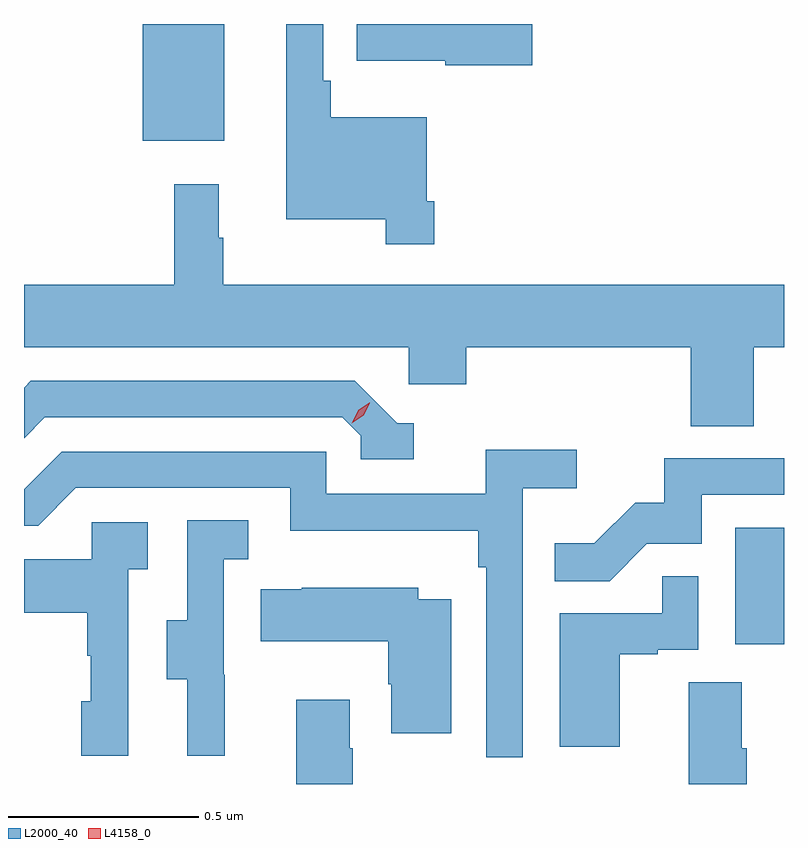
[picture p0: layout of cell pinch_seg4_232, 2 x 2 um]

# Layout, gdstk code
import gdstk
lib = gdstk.Library(unit=1e-6, precision=1e-09)
def R(c, l, rs):  # rectangles x0, y0, x1, y1
    for r in rs: c.add(gdstk.rectangle(r[:2], r[2:], *l))
def P(c, l, *ps):  # polygons
    for p in ps: c.add(gdstk.Polygon(p, *l))
L2000_40 = (2000, 40)
L4158_0 = (4158, 0)

pinch_seg4_232 = lib.new_cell('pinch_seg4_232')
R(pinch_seg4_232, L2000_40, [(998.084,822.678,998.212,822.985), (996.524,824.003,996.739,824.31)])
P(pinch_seg4_232, L2000_40, [(997.292,823.843),(997.272,823.843),(997.272,824.065),(997.019,824.065),(997.019,824.161),(996.999,824.161),(996.999,824.31),(996.902,824.31),(996.902,823.796),(997.164,823.796),(997.164,823.731),(997.292,823.731)],
  [(997.549,824.31),(997.088,824.31),(997.088,824.213),(997.32,824.213),(997.32,824.201),(997.549,824.201)],
  [(996.736,823.748),(996.724,823.748),(996.724,823.888),(996.607,823.888),(996.607,823.624),(996.212,823.624),(996.212,823.46),(997.224,823.46),(997.224,823.362),(997.376,823.362),(997.376,823.46),(997.967,823.46),(997.967,823.252),(998.132,823.252),(998.132,823.46),(998.212,823.46),(998.212,823.624),(996.736,823.624)],
  [(997.237,823.26),(997.194,823.26),(997.083,823.371),(996.23,823.371),(996.212,823.353),(996.212,823.22),(996.267,823.275),(997.05,823.275),(997.098,823.227),(997.098,823.164),(997.237,823.164)],
  [(997.524,823.088),(997.666,823.088),(997.666,823.19),(997.427,823.19),(997.427,823.074),(997.008,823.074),(997.008,823.185),(996.311,823.185),(996.212,823.086),(996.212,822.99),(996.249,822.99),(996.348,823.089),(996.912,823.089),(996.912,822.977),(997.408,822.977),(997.408,822.881),(997.428,822.881),(997.428,822.381),(997.524,822.381)],
  [(997.851,822.942),(997.995,822.942),(997.995,823.071),(998.212,823.071),(998.212,823.167),(997.897,823.167),(997.897,823.05),(997.82,823.05),(997.713,822.943),(997.609,822.943),(997.609,822.844),(997.753,822.844)],
  [(996.74,822.597),(996.738,822.597),(996.738,822.901),(996.802,822.901),(996.802,823.004),(996.642,823.004),(996.642,822.741),(996.587,822.741),(996.587,822.586),(996.641,822.586),(996.641,822.384),(996.74,822.384)],
  [(996.486,822.875),(996.538,822.875),(996.538,822.999),(996.39,822.999),(996.39,822.901),(996.212,822.901),(996.212,822.761),(996.378,822.761),(996.378,822.647),(996.388,822.647),(996.388,822.528),(996.362,822.528),(996.362,822.384),(996.486,822.384)],
  [(997.78,822.651),(997.88,822.651),(997.88,822.663),(997.986,822.663),(997.986,822.857),(997.891,822.857),(997.891,822.759),(997.622,822.759),(997.622,822.408),(997.78,822.408)],
  [(997.336,822.796),(997.249,822.796),(997.249,822.826),(996.943,822.826),(996.943,822.823),(996.835,822.823),(996.835,822.686),(997.171,822.686),(997.171,822.573),(997.178,822.573),(997.178,822.444),(997.336,822.444)],
  [(998.114,822.404),(998.101,822.404),(998.101,822.578),(997.961,822.578),(997.961,822.31),(998.114,822.31)],
  [(997.077,822.404),(997.069,822.404),(997.069,822.532),(996.929,822.532),(996.929,822.31),(997.077,822.31)])
P(pinch_seg4_232, L4158_0, [(997.075,823.26),(997.075,823.26),(997.091,823.293),(997.121,823.313),(997.122,823.313),(997.122,823.313),(997.106,823.28),(997.075,823.26)])

lib.write_gds('pinch_seg4_232.gds')
